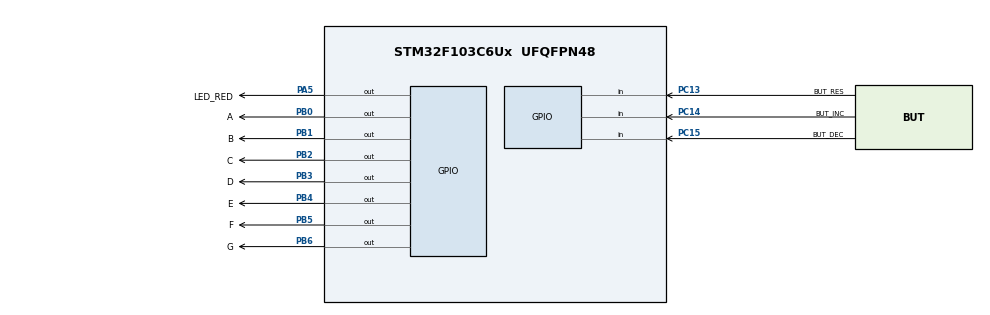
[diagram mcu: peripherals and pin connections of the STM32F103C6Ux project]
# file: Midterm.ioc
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Mcu.Family=STM32F1
Mcu.Name=STM32F103C6Ux
Mcu.Package=UFQFPN48
NVIC.PriorityGroup=NVIC_PRIORITYGROUP_4
NVIC.TIM2_IRQn=true\:0\:0\:false\:false\:true\:true\:true
PA5.GPIO_Label=LED_RED
PA5.Signal=GPIO_Output
PB0.GPIO_Label=A
PB0.Signal=GPIO_Output
PB1.GPIO_Label=B
PB1.Signal=GPIO_Output
PB2.GPIO_Label=C
PB2.Signal=GPIO_Output
PB3.GPIO_Label=D
PB3.Signal=GPIO_Output
PB4.GPIO_Label=E
PB4.Signal=GPIO_Output
PB5.GPIO_Label=F
PB5.Signal=GPIO_Output
PB6.GPIO_Label=G
PB6.Signal=GPIO_Output
PC13-TAMPER-RTC.GPIO_Label=BUT_RES
PC13-TAMPER-RTC.GPIO_PuPd=GPIO_PULLUP
PC13-TAMPER-RTC.Signal=GPIO_Input
PC14-OSC32_IN.GPIO_Label=BUT_INC
PC14-OSC32_IN.GPIO_PuPd=GPIO_PULLUP
PC14-OSC32_IN.Signal=GPIO_Input
PC15-OSC32_OUT.GPIO_Label=BUT_DEC
PC15-OSC32_OUT.GPIO_PuPd=GPIO_PULLUP
PC15-OSC32_OUT.Signal=GPIO_Input
ProjectManager.HeapSize=0x200
ProjectManager.StackSize=0x400
ProjectManager.TargetToolchain=STM32CubeIDE
RCC.APB1Freq_Value=8000000
RCC.APB2Freq_Value=8000000
TIM2.Period=10
TIM2.Prescaler=7999
VP_SYS_VS_ND.Mode=No_Debug
VP_TIM2_VS_ClockSourceINT.Mode=Internal
board=custom

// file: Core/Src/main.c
/* USER CODE BEGIN Header */
/**
  ******************************************************************************
  * @file           : main.c
  * @brief          : Main program body
  ******************************************************************************
  * @attention
  *
  * <h2><center>&copy; Copyright (c) 2022 STMicroelectronics.
  * All rights reserved.</center></h2>
  *
  * This software component is licensed by ST under BSD 3-Clause license,
  * the "License"; You may not use this file except in compliance with the
  * License. You may obtain a copy of the License at:
  *                        opensource.org/licenses/BSD-3-Clause
  *
  ******************************************************************************
  */
/* USER CODE END Header */
#include "main.h"

/* USER CODE BEGIN Includes */
#include "software_timer.h"
#include "button.h"
#include "fsm_automatic.h"
#include "global.h"
#include "led7seg.h"
/* USER CODE END Includes */

TIM_HandleTypeDef htim2;

void SystemClock_Config(void);
static void MX_GPIO_Init(void);
static void MX_TIM2_Init(void);

int main(void)
{

  /* MCU Configuration--------------------------------------------------------*/

  /* Reset of all peripherals, Initializes the Flash interface and the Systick. */
  HAL_Init();

  /* Configure the system clock */
  SystemClock_Config();

  /* Initialize all configured peripherals */
  MX_GPIO_Init();
  MX_TIM2_Init();
  /* USER CODE BEGIN 2 */
  HAL_TIM_Base_Start_IT(&htim2);
  /* USER CODE END 2 */

  /* Infinite loop */
  /* USER CODE BEGIN WHILE */
  //	status = INIT;
  setTimer1(1000);
  setTimer2(1000);
  status = INIT;
  while (1)
  {
	  fsm_automatic_run();
	  if(timer1_flag == 1){
		  HAL_GPIO_TogglePin(LED_RED_GPIO_Port, LED_RED_Pin);
		  setTimer1(1000);
	  }
//	  if(isButtonPressed(2)){
//		  HAL_GPIO_TogglePin(LED_RED_GPIO_Port, LED_RED_Pin);
//	  }
    /* USER CODE END WHILE */

  }
}

void SystemClock_Config(void)
{
  RCC_OscInitTypeDef RCC_OscInitStruct = {0};
  RCC_ClkInitTypeDef RCC_ClkInitStruct = {0};

  /** Initializes the RCC Oscillators according to the specified parameters
  * in the RCC_OscInitTypeDef structure.
  */
  RCC_OscInitStruct.OscillatorType = RCC_OSCILLATORTYPE_HSI;
  RCC_OscInitStruct.HSIState = RCC_HSI_ON;
  RCC_OscInitStruct.HSICalibrationValue = RCC_HSICALIBRATION_DEFAULT;
  RCC_OscInitStruct.PLL.PLLState = RCC_PLL_NONE;
  if (HAL_RCC_OscConfig(&RCC_OscInitStruct) != HAL_OK)
  {
    Error_Handler();
  }
  /** Initializes the CPU, AHB and APB buses clocks
  */
  RCC_ClkInitStruct.ClockType = RCC_CLOCKTYPE_HCLK|RCC_CLOCKTYPE_SYSCLK
                              |RCC_CLOCKTYPE_PCLK1|RCC_CLOCKTYPE_PCLK2;
  RCC_ClkInitStruct.SYSCLKSource = RCC_SYSCLKSOURCE_HSI;
  RCC_ClkInitStruct.AHBCLKDivider = RCC_SYSCLK_DIV1;
  RCC_ClkInitStruct.APB1CLKDivider = RCC_HCLK_DIV1;
  RCC_ClkInitStruct.APB2CLKDivider = RCC_HCLK_DIV1;

  if (HAL_RCC_ClockConfig(&RCC_ClkInitStruct, FLASH_LATENCY_0) != HAL_OK)
  {
    Error_Handler();
  }
}

static void MX_TIM2_Init(void)
{

  TIM_ClockConfigTypeDef sClockSourceConfig = {0};
  TIM_MasterConfigTypeDef sMasterConfig = {0};

  htim2.Instance = TIM2;
  htim2.Init.Prescaler = 7999;
  htim2.Init.CounterMode = TIM_COUNTERMODE_UP;
  htim2.Init.Period = 10;
  htim2.Init.ClockDivision = TIM_CLOCKDIVISION_DIV1;
  htim2.Init.AutoReloadPreload = TIM_AUTORELOAD_PRELOAD_DISABLE;
  if (HAL_TIM_Base_Init(&htim2) != HAL_OK)
  {
    Error_Handler();
  }
  sClockSourceConfig.ClockSource = TIM_CLOCKSOURCE_INTERNAL;
  if (HAL_TIM_ConfigClockSource(&htim2, &sClockSourceConfig) != HAL_OK)
  {
    Error_Handler();
  }
  sMasterConfig.MasterOutputTrigger = TIM_TRGO_RESET;
  sMasterConfig.MasterSlaveMode = TIM_MASTERSLAVEMODE_DISABLE;
  if (HAL_TIMEx_MasterConfigSynchronization(&htim2, &sMasterConfig) != HAL_OK)
  {
    Error_Handler();
  }

}

static void MX_GPIO_Init(void)
{
  GPIO_InitTypeDef GPIO_InitStruct = {0};

  /* GPIO Ports Clock Enable */
  __HAL_RCC_GPIOC_CLK_ENABLE();
  __HAL_RCC_GPIOA_CLK_ENABLE();
  __HAL_RCC_GPIOB_CLK_ENABLE();

  /*Configure GPIO pin Output Level */
  HAL_GPIO_WritePin(LED_RED_GPIO_Port, LED_RED_Pin, GPIO_PIN_RESET);

  /*Configure GPIO pin Output Level */
  HAL_GPIO_WritePin(GPIOB, A_Pin|B_Pin|C_Pin|D_Pin
                          |E_Pin|F_Pin|G_Pin, GPIO_PIN_SET);

  /*Configure GPIO pins : BUT_RES_Pin BUT_INC_Pin BUT_DEC_Pin */
  GPIO_InitStruct.Pin = BUT_RES_Pin|BUT_INC_Pin|BUT_DEC_Pin;
  GPIO_InitStruct.Mode = GPIO_MODE_INPUT;
  GPIO_InitStruct.Pull = GPIO_PULLUP;
  HAL_GPIO_Init(GPIOC, &GPIO_InitStruct);

  /*Configure GPIO pin : LED_RED_Pin */
  GPIO_InitStruct.Pin = LED_RED_Pin;
  GPIO_InitStruct.Mode = GPIO_MODE_OUTPUT_PP;
  GPIO_InitStruct.Pull = GPIO_NOPULL;
  GPIO_InitStruct.Speed = GPIO_SPEED_FREQ_LOW;
  HAL_GPIO_Init(LED_RED_GPIO_Port, &GPIO_InitStruct);

  /*Configure GPIO pins : A_Pin B_Pin C_Pin D_Pin
                           E_Pin F_Pin G_Pin */
  GPIO_InitStruct.Pin = A_Pin|B_Pin|C_Pin|D_Pin
                          |E_Pin|F_Pin|G_Pin;
  GPIO_InitStruct.Mode = GPIO_MODE_OUTPUT_PP;
  GPIO_InitStruct.Pull = GPIO_NOPULL;
  GPIO_InitStruct.Speed = GPIO_SPEED_FREQ_LOW;
  HAL_GPIO_Init(GPIOB, &GPIO_InitStruct);

}

/* USER CODE BEGIN 4 */
void HAL_TIM_PeriodElapsedCallback(TIM_HandleTypeDef *htim){
	timerRun();
	getKeyInput();
}
/* USER CODE END 4 */

void Error_Handler(void)
{
  __disable_irq();
  while (1)
  {
  }
}

/************************ (C) COPYRIGHT STMicroelectronics *****END OF FILE****/
